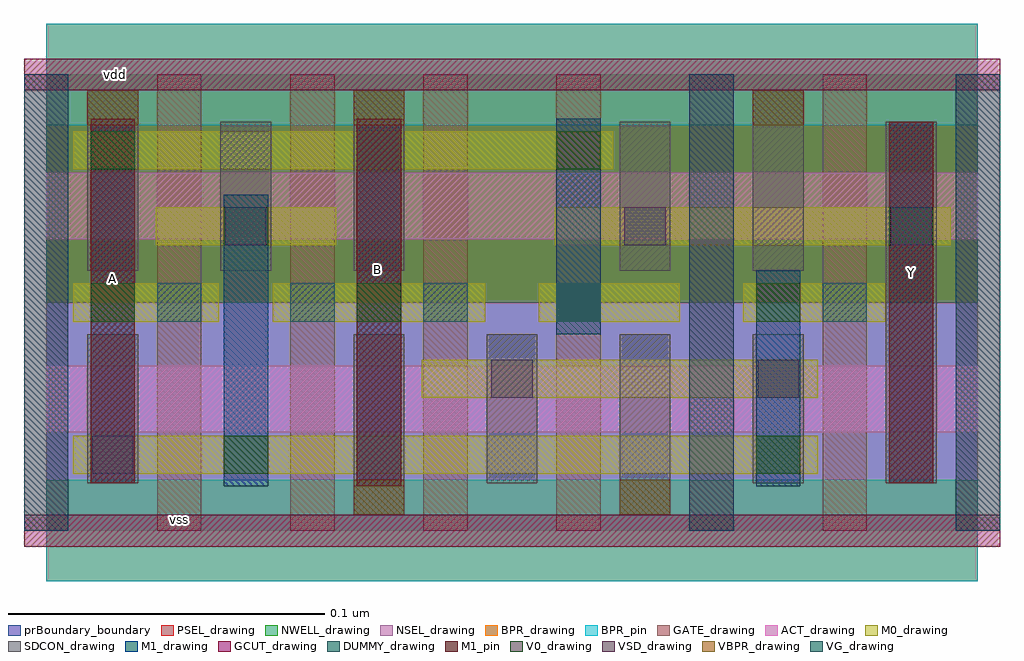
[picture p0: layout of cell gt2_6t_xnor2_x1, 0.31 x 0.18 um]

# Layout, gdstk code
import gdstk
lib = gdstk.Library(unit=1e-6, precision=5e-10)
def R(c, l, rs):  # rectangles x0, y0, x1, y1
    for r in rs: c.add(gdstk.rectangle(r[:2], r[2:], *l))
def A(c, l, x, y, w, h, nx, ny, dx, dy):  # array of equal rectangles
    R(c, l, [(x+i*dx, y+j*dy, x+i*dx+w, y+j*dy+h) for i in range(nx) for j in range(ny)])
NWELL_drawing = (1, 0)
ACT_drawing = (2, 0)
GATE_drawing = (3, 0)
DUMMY_drawing = (4, 0)
GCUT_drawing = (5, 0)
NSEL_drawing = (6, 0)
PSEL_drawing = (7, 0)
BPR_drawing = (8, 0)
BPR_pin = (8, 251)
VBPR_drawing = (9, 0)
SDCON_drawing = (10, 0)
VSD_drawing = (11, 0)
VG_drawing = (12, 0)
M0_drawing = (20, 0)
V0_drawing = (22, 0)
M1_drawing = (25, 0)
M1_pin = (25, 251)
prBoundary_boundary = (235, 250)

gt2_6t_xnor2_x1 = lib.new_cell('gt2_6t_xnor2_x1')
R(gt2_6t_xnor2_x1, NWELL_drawing, [(0,0.072,0.294,0.144)])
R(gt2_6t_xnor2_x1, ACT_drawing, [(0,0.031,0.294,0.052), (0,0.092,0.294,0.113)])
A(gt2_6t_xnor2_x1, GATE_drawing, -0.007, 0, 0.014, 0.144, 8, 1, 0.042, 0)
R(gt2_6t_xnor2_x1, DUMMY_drawing, [(-0.007,0,0.007,0.144), (0.203,0,0.217,0.144), (0.287,0,0.301,0.144)])
R(gt2_6t_xnor2_x1, GCUT_drawing, [(-0.007,-0.005,0.301,0.005), (-0.007,0.139,0.301,0.149)])
R(gt2_6t_xnor2_x1, NSEL_drawing, [(0,0,0.294,0.072)])
R(gt2_6t_xnor2_x1, PSEL_drawing, [(0,0.072,0.294,0.144)])
R(gt2_6t_xnor2_x1, BPR_drawing, [(0,-0.016,0.294,0.016), (0,0.128,0.294,0.16)])
R(gt2_6t_xnor2_x1, BPR_pin, [(0,-0.016,0.294,0.016), (0,0.128,0.294,0.16)])
R(gt2_6t_xnor2_x1, VBPR_drawing, [(0.097,0.005,0.113,0.016), (0.181,0.005,0.197,0.016), (0.013,0.128,0.029,0.139), (0.097,0.128,0.113,0.139), (0.223,0.128,0.239,0.139)])
R(gt2_6t_xnor2_x1, SDCON_drawing, [(0.097,0.005,0.113,0.062), (0.181,0.005,0.197,0.062), (0.013,0.015,0.029,0.062), (0.139,0.015,0.155,0.062), (0.223,0.015,0.239,0.062), (0.265,0.015,0.281,0.129), (0.013,0.082,0.029,0.139), (0.055,0.082,0.071,0.129), (0.097,0.082,0.113,0.139), (0.181,0.082,0.197,0.129), (0.223,0.082,0.239,0.139)])
R(gt2_6t_xnor2_x1, VSD_drawing, [(0.0145,0.018,0.0275,0.03), (0.1405,0.042,0.1535,0.054), (0.2245,0.042,0.2375,0.054), (0.0565,0.09,0.0695,0.102), (0.1825,0.09,0.1955,0.102), (0.2665,0.09,0.2795,0.102)])
A(gt2_6t_xnor2_x1, VG_drawing, 0.035, 0.066, 0.014, 0.012, 4, 1, 0.042, 0)
R(gt2_6t_xnor2_x1, VG_drawing, [(0.245,0.066,0.259,0.078)])
R(gt2_6t_xnor2_x1, M0_drawing, [(0.0085,0.018,0.2435,0.03), (0.1185,0.042,0.2435,0.054), (0.0085,0.066,0.0545,0.078), (0.0715,0.066,0.1385,0.078), (0.1555,0.066,0.2,0.078), (0.22,0.066,0.265,0.078), (0.0345,0.09,0.0915,0.102), (0.1605,0.09,0.2855,0.102), (0.0085,0.114,0.179,0.126)])
A(gt2_6t_xnor2_x1, V0_drawing, 0.098, 0.066, 0.014, 0.012, 3, 1, 0.063, 0)
R(gt2_6t_xnor2_x1, V0_drawing, [(0.056,0.018,0.07,0.03), (0.224,0.018,0.238,0.03), (0.014,0.066,0.028,0.078), (0.056,0.09,0.07,0.102), (0.266,0.09,0.28,0.102), (0.014,0.114,0.028,0.126), (0.161,0.114,0.175,0.126)])
R(gt2_6t_xnor2_x1, M1_drawing, [(0.056,0.014,0.07,0.106), (0.098,0.014,0.112,0.13), (0.224,0.014,0.238,0.082), (0.014,0.015,0.028,0.13), (0.266,0.015,0.28,0.129), (0.161,0.062,0.175,0.13)])
R(gt2_6t_xnor2_x1, M1_pin, [(0.098,0.014,0.112,0.13), (0.014,0.015,0.028,0.13), (0.266,0.015,0.28,0.129)])
R(gt2_6t_xnor2_x1, prBoundary_boundary, [(0,0,0.294,0.144)])
gt2_6t_xnor2_x1.add(gdstk.Label('vss', (0.042,0.0035), layer=8, texttype=251))
gt2_6t_xnor2_x1.add(gdstk.Label('vdd', (0.022,0.144), layer=8, texttype=251))
gt2_6t_xnor2_x1.add(gdstk.Label('Y', (0.273,0.0815), layer=25, texttype=251))
gt2_6t_xnor2_x1.add(gdstk.Label('B', (0.1045,0.0825), layer=25, texttype=251))
gt2_6t_xnor2_x1.add(gdstk.Label('A', (0.021,0.0795), layer=25, texttype=251))

lib.write_gds('gt2_6t_xnor2_x1.gds')
